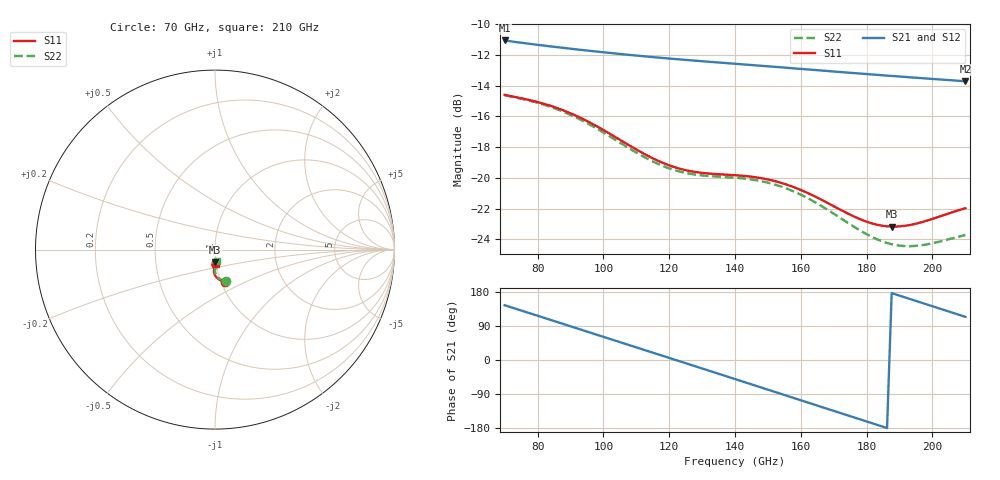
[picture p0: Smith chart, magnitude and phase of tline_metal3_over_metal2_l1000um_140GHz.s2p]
#  GHZ S DB R 50
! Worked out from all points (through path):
!   101 points, 70 GHz to 210 GHz, reference 50 ohm
!   highest |S21| = -11.06 dB at 70 GHz (marker M1); lowest = -13.7 dB at 210 GHz (marker M2)
!   group delay of S21, straight-line fit = 7.76 ps
!   lowest |S11| = -23.2 dB at 187.6 GHz (marker M3), VSWR 1.15, Z = 49.3 - j6.88 ohm
!   |S11| at or under -10 dB: start of sweep to end of sweep
!   |S22| runs from -24.4 to -14.6 dB; largest |S21 - S12| = 4e-14
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70  -14.60 -73.2  -11.06 144.6  -11.06 144.6  -14.63 -71.2
77  -14.91 -76.4  -11.27 125.2  -11.27 125.2  -14.95 -74.5
82.6  -15.22 -79.7  -11.42 109.6  -11.42 109.6  -15.29 -77.8
88.2  -15.64 -83.3  -11.56 94.0  -11.56 94.0  -15.73 -81.3
93.8  -16.17 -86.7  -11.69 78.4  -11.69 78.4  -16.30 -84.7
99.4  -16.81 -89.7  -11.82 62.9  -11.82 62.9  -16.97 -87.5
106.4  -17.69 -92.0  -11.97 43.4  -11.97 43.4  -17.89 -89.6
112  -18.39 -92.7  -12.09 27.8  -12.09 27.8  -18.59 -90.0
117.6  -18.98 -92.3  -12.19 12.2  -12.19 12.2  -19.18 -89.5
123.2  -19.40 -91.4  -12.30 -3.4  -12.30 -3.4  -19.58 -88.5
128.8  -19.64 -90.6  -12.39 -19.0  -12.39 -19.0  -19.81 -87.7
140  -19.82 -91.3  -12.58 -50.3  -12.58 -50.3  -19.98 -88.9
145.6  -19.94 -92.9  -12.67 -65.9  -12.67 -65.9  -20.12 -90.9
151.2  -20.16 -95.1  -12.77 -81.6  -12.77 -81.6  -20.38 -93.5
156.8  -20.52 -97.3  -12.86 -97.3  -12.86 -97.3  -20.78 -96.2
163.8  -21.15 -99.3  -12.98 -116.9  -12.98 -116.9  -21.51 -98.9
170.8  -21.93 -99.7  -13.10 -136.5  -13.10 -136.5  -22.43 -99.9
176.4  -22.53 -98.3  -13.19 -152.2  -13.19 -152.2  -23.21 -99.0
182  -22.98 -95.5  -13.28 -167.8  -13.28 -167.8  -23.87 -96.4
187.6  -23.16 -91.9  -13.37 176.5  -13.37 176.5  -24.31 -92.5
197.4  -22.83 -86.8  -13.52 149.1  -13.52 149.1  -24.35 -85.7
210  -21.97 -86.3  -13.72 113.9  -13.72 113.9  -23.71 -82.1
